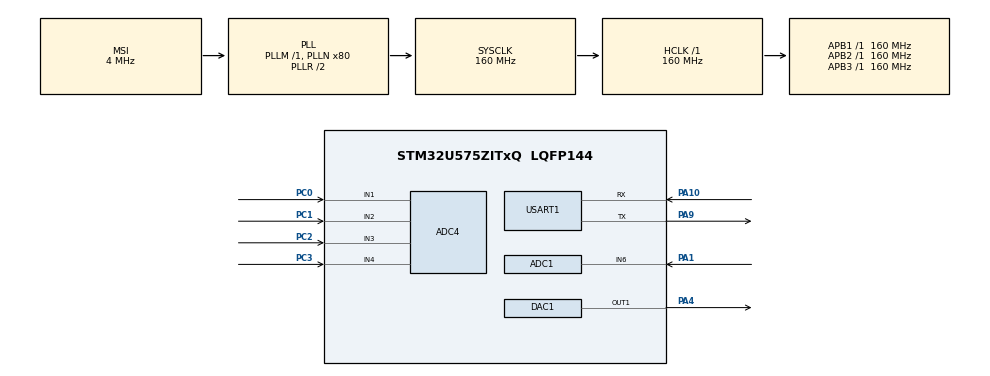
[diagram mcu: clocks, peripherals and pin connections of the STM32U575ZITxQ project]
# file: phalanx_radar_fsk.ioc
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ADC1.ContinuousConvMode=ENABLE
ADC1.ConversionDataManagement=ADC_CONVERSIONDATA_DMA_CIRCULAR
ADC1.NbrOfConversion=1
ADC1.Resolution=ADC_RESOLUTION_12B
ADC1.master=1
ADC4.DMAContinuousRequests=ENABLE
ADC4.ExternalTrigConv=ADC4_EXTERNALTRIG_T1_TRGO2
ADC4.NbrOfConversion=1
ADC4.NbrOfConversionFlag=0
ADC4.SelectedChannel=ADC_CHANNEL_1|ADC_CHANNEL_2|ADC_CHANNEL_3|ADC_CHANNEL_4|ADC_CHANNEL_DAC1CH1_ADC4
CORTEX_M33_NS.userName=CORTEX_M33
DAC1.DAC_Channel-DAC_OUT1_ExtAndInt=DAC_CHANNEL_1
DAC1.DAC_Trigger-DAC_OUT1_ExtAndInt=DAC_TRIGGER_T2_TRGO
GPDMA1.LINKALLOCATEDPORT_GPDMACH10=DMA_LINK_ALLOCATED_PORT1
GPDMA1.LINKEDLISTMODE_GPDMACH10=DMA_LINKEDLIST_CIRCULAR
GPDMA1.LINKEDLISTMODE_GPDMACH8=DMA_LINKEDLIST_CIRCULAR
Linkedlist.MDMA_Channel0.GP_SW.0.BlkHWRequest=DMA_BREQ_SINGLE_BURST
Linkedlist.MDMA_Channel0.GP_SW.0.DataHandling=NONE
Linkedlist.MDMA_Channel0.GP_SW.0.DataSize=0
Linkedlist.MDMA_Channel0.GP_SW.0.DestBurstLength=1
Linkedlist.MDMA_Channel0.GP_SW.0.DestDataWidth=DMA_DEST_DATAWIDTH_WORD
Linkedlist.MDMA_Channel0.GP_SW.0.DestInc=DMA_DINC_INCREMENTED
Linkedlist.MDMA_Channel0.GP_SW.0.Direction=DMA_PERIPH_TO_MEMORY
Linkedlist.MDMA_Channel0.GP_SW.0.DstAddress=0
Linkedlist.MDMA_Channel0.GP_SW.0.Instance=MDMA_Channel0
Linkedlist.MDMA_Channel0.GP_SW.0.LL_CIRCULARNODE=ADCNode
Linkedlist.MDMA_Channel0.GP_SW.0.LL_MASTERDMA=GPDMA
Linkedlist.MDMA_Channel0.GP_SW.0.LL_NAME=ADCQueue
Linkedlist.MDMA_Channel0.GP_SW.0.LL_TYPE=CIRCULAR
Linkedlist.MDMA_Channel0.GP_SW.0.NODE_NAME=ADCNode
Linkedlist.MDMA_Channel0.GP_SW.0.Requestforcodegen=GPDMA1_REQUEST_ADC4
Linkedlist.MDMA_Channel0.GP_SW.0.SrcAddress=0
Linkedlist.MDMA_Channel0.GP_SW.0.SrcBurstLength=1
Linkedlist.MDMA_Channel0.GP_SW.0.SrcDataWidth=DMA_SRC_DATAWIDTH_WORD
Linkedlist.MDMA_Channel0.GP_SW.0.SrcInc=DMA_SINC_FIXED
Linkedlist.MDMA_Channel0.GP_SW.0.TransferAllocatedPortSrc=DMA_SRC_ALLOCATED_PORT1
Linkedlist.MDMA_Channel0.GP_SW.0.TransferEventMode=DMA_TCEM_BLOCK_TRANSFER
Linkedlist.MDMA_Channel0.GP_SW.0.TriggerPolarity=DMA_TRIG_POLARITY_MASKED
Linkedlist.MDMA_Channel0.Request0=GP_SW
Linkedlist.MDMA_Channel0.RequestsNb=1
Linkedlist.MDMA_Channel1.GP_SW.0.BlkHWRequest=DMA_BREQ_SINGLE_BURST
Linkedlist.MDMA_Channel1.GP_SW.0.DataHandling=NONE
Linkedlist.MDMA_Channel1.GP_SW.0.DataSize=0
Linkedlist.MDMA_Channel1.GP_SW.0.DestBurstLength=1
Linkedlist.MDMA_Channel1.GP_SW.0.DestDataWidth=DMA_DEST_DATAWIDTH_WORD
Linkedlist.MDMA_Channel1.GP_SW.0.DestInc=DMA_DINC_FIXED
Linkedlist.MDMA_Channel1.GP_SW.0.Direction=DMA_PERIPH_TO_MEMORY
Linkedlist.MDMA_Channel1.GP_SW.0.DstAddress=0
Linkedlist.MDMA_Channel1.GP_SW.0.Instance=MDMA_Channel1
Linkedlist.MDMA_Channel1.GP_SW.0.LL_CIRCULARNODE=DACNode
Linkedlist.MDMA_Channel1.GP_SW.0.LL_MASTERDMA=GPDMA
Linkedlist.MDMA_Channel1.GP_SW.0.LL_NAME=DACQueue
Linkedlist.MDMA_Channel1.GP_SW.0.LL_TYPE=CIRCULAR
Linkedlist.MDMA_Channel1.GP_SW.0.NODE_NAME=DACNode
Linkedlist.MDMA_Channel1.GP_SW.0.Requestforcodegen=GPDMA1_REQUEST_DAC1_CH1
Linkedlist.MDMA_Channel1.GP_SW.0.SrcAddress=0
Linkedlist.MDMA_Channel1.GP_SW.0.SrcBurstLength=1
Linkedlist.MDMA_Channel1.GP_SW.0.SrcDataWidth=DMA_SRC_DATAWIDTH_WORD
Linkedlist.MDMA_Channel1.GP_SW.0.SrcInc=DMA_SINC_INCREMENTED
Linkedlist.MDMA_Channel1.GP_SW.0.TransferAllocatedPortSrc=DMA_SRC_ALLOCATED_PORT0
Linkedlist.MDMA_Channel1.GP_SW.0.TransferEventMode=DMA_TCEM_BLOCK_TRANSFER
Linkedlist.MDMA_Channel1.GP_SW.0.TriggerPolarity=DMA_TRIG_POLARITY_MASKED
Linkedlist.MDMA_Channel1.Request0=GP_SW
Linkedlist.MDMA_Channel1.RequestsNb=1
Linkedlist.RequestSet0=MDMA_Channel0
Linkedlist.RequestSet1=MDMA_Channel1
Linkedlist.RequestSetsNb=2
Mcu.Family=STM32U5
Mcu.Name=STM32U575ZITxQ
Mcu.Package=LQFP144
Mcu.UserConstants=SAMPLE_FREQ,50000
NVIC.GPDMA1_Channel10_IRQn=true\:0\:0\:false\:false\:true\:false\:true\:true\:true
NVIC.GPDMA1_Channel8_IRQn=true\:0\:0\:false\:false\:true\:false\:true\:true\:true
NVIC.PriorityGroup=NVIC_PRIORITYGROUP_4
NVIC.TIM6_IRQn=true\:15\:0\:false\:false\:true\:false\:false\:true\:true
NVIC.TimeBase=TIM6_IRQn
NVIC.TimeBaseIP=TIM6
PA1.Mode=IN6-Single-Ended
PA1.Signal=ADC1_IN6
PA10.Mode=Asynchronous
PA10.Signal=USART1_RX
PA13\ (JTMS/SWDIO).Signal=DEBUG_JTMS-SWDIO
PA14\ (JTCK/SWCLK).Signal=DEBUG_JTCK-SWCLK
PA4.Signal=COMP_DAC11_group
PA9.Mode=Asynchronous
PA9.Signal=USART1_TX
PB8.Signal=I2C1_SCL
PB9.Signal=I2C1_SDA
PC0.Mode=IN1
PC0.Signal=ADC4_IN1
PC1.Mode=IN2
PC1.Signal=ADC4_IN2
PC2.Mode=IN3
PC2.Signal=ADC4_IN3
PC3.Mode=IN4
PC3.Signal=ADC4_IN4
PE12.Signal=SPI1_NSS
PE13.Signal=SPI1_SCK
PE14.Signal=SPI1_MISO
PE15.Signal=SPI1_MOSI
PWR.PowerMode=PWR_SMPS_SUPPLY
ProjectManager.HeapSize=0x200
ProjectManager.StackSize=0x400
ProjectManager.TargetToolchain=STM32CubeIDE
RCC.ADCFreq_Value=16000000
RCC.AHBFreq_Value=160000000
RCC.APB1Freq_Value=160000000
RCC.APB1TimFreq_Value=160000000
RCC.APB2Freq_Value=160000000
RCC.APB2TimFreq_Value=160000000
RCC.APB3Freq_Value=160000000
RCC.CortexFreq_Value=160000000
RCC.DACCLockSelectionVirtual=RCC_DAC1CLKSOURCE_LSI
RCC.EPOD_VALUE=4000000
RCC.FLatency=FLASH_LATENCY_4
RCC.HCLKFreq_Value=160000000
RCC.HSE_VALUE=16000000
RCC.HSI48_VALUE=48000000
RCC.HSI_VALUE=16000000
RCC.LSE_VALUE=32768
RCC.LSIDIV_VALUE=32000
RCC.MSI_VALUE=4000000
RCC.PLLN=80
RCC.PWR_Regulator_Voltage_Scale=PWR_REGULATOR_VOLTAGE_SCALE1
RCC.SYSCLKFreq_VALUE=160000000
RCC.SYSCLKSource=RCC_SYSCLKSOURCE_PLLCLK
RCC.USBFreq_Value=48000000
RCC.VCOOutputFreq_Value=320000000
SH.COMP_DAC11_group.0=DAC1_OUT1,DAC_OUT1_ExtAndInt
THREADX.AZRTOS_APP_MEM_ALLOCATION_METHOD=1
THREADX.TX_APP_CREATION=1
THREADX.TX_APP_GENERATE_INIT_CODE=true
THREADX.TX_APP_MEM_POOL_SIZE=(4*1024)
THREADX.TX_APP_MSG_QUEUE_CREATION=0
THREADX.TX_APP_STACK_SIZE=512
THREADX.TX_APP_THREAD_ENTRY=MainThread_entry
THREADX.TX_APP_THREAD_NAME=Main Thread
THREADX.TX_APP_THREAD_PRIO=5
THREADX.TX_MSG_SIZE_WORDS=6
THREADX.TX_TIMER_TICKS_PER_SECOND=1000
TIM1.PeriodNoDither=160000000/SAMPLE_FREQ
TIM1.TIM_MasterOutputTrigger=TIM_TRGO_UPDATE
TIM1.TIM_MasterOutputTrigger2=TIM_TRGO2_UPDATE
TIM2.PeriodNoDither=800
TIM2.TIM_MasterOutputTrigger=TIM_TRGO_UPDATE
USART1.VirtualMode-Asynchronous=VM_ASYNC
VP_ADC4_VS_DAC1_OUT1.Mode=IN-DAC1-OUT1
VP_GPDMA1_VS_GPDMACH10.Mode=LINKEDLIST_GPDMACH10
VP_GPDMA1_VS_GPDMACH8.Mode=LINKEDLIST_GPDMACH8
VP_ICACHE_VS_ENABLE_ICACHE_MEMORY.Mode=Memoryregions
VP_ICACHE_VS_ICACHE.Mode=DirectMappedCache
VP_LPBAMQUEUE_VS_QUEUE.Mode=QUEUEMODE
VP_LPBAM_VS_SIG1.Mode=SmartRun
VP_LPBAM_VS_SIG4.Mode=LPDMA1
VP_MEMORYMAP_VS_MEMORYMAP.Mode=CurAppReg
VP_PWR_VS_DBSignals.Mode=DisableDeadBatterySignals
VP_PWR_VS_LPOM.Mode=PowerOptimisation
VP_PWR_VS_SECSignals.Mode=Security/Privilege
VP_PWR_Vdda.Mode=isolationVdda
VP_RTC_VS_RTC_Activate.Mode=RTC_Enabled
VP_RTC_VS_RTC_Calendar.Mode=RTC_Calendar
VP_SYS_VS_tim6.Mode=TIM6
VP_THREADX_VS_RTOSJjThreadXJjCoreJjDefault.Mode=Core_Default
VP_TIM1_VS_ClockSourceITR.Mode=TriggerSource_ITR2
VP_TIM2_VS_ClockSourceITR.Mode=TriggerSource_ITR0
board=NUCLEO-U575ZI-Q

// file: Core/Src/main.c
/* USER CODE BEGIN Header */
/**
  ******************************************************************************
  * @file           : main.c
  * @brief          : Main program body
  ******************************************************************************
  * @attention
  *
  * Copyright (c) 2023 STMicroelectronics.
  * All rights reserved.
  *
  * This software is licensed under terms that can be found in the LICENSE file
  * in the root directory of this software component.
  * If no LICENSE file comes with this software, it is provided AS-IS.
  *
  ******************************************************************************
  */
/* USER CODE END Header */
#include "app_threadx.h"
#include "main.h"

ADC_HandleTypeDef hadc1;
ADC_HandleTypeDef hadc4;

DAC_HandleTypeDef hdac1;

DMA_HandleTypeDef handle_GPDMA1_Channel10;
DMA_HandleTypeDef handle_GPDMA1_Channel8;

RTC_HandleTypeDef hrtc;

TIM_HandleTypeDef htim1;
TIM_HandleTypeDef htim2;

UART_HandleTypeDef huart1;

/* USER CODE BEGIN PV */
extern DMA_QListTypeDef ADCQueue;
extern DMA_QListTypeDef DACQueue;
/* USER CODE END PV */

void SystemClock_Config(void);
static void SystemPower_Config(void);
static void MX_GPIO_Init(void);
static void MX_GPDMA1_Init(void);
static void MX_ICACHE_Init(void);
static void MX_MEMORYMAP_Init(void);
static void MX_ADC1_Init(void);
static void MX_ADC4_Init(void);
static void MX_DAC1_Init(void);
static void MX_RTC_Init(void);
static void MX_TIM1_Init(void);
static void MX_TIM2_Init(void);
static void MX_USART1_UART_Init(void);
/* USER CODE BEGIN PFP */
#if defined (__ICCARM__) || defined (__ARMCC_VERSION)
	#define PUTCHAR_PROTOTYPE int fputc(int ch, FILE *f)
#elif defined(__GNUC__)
  /* With GCC, small printf (option LD Linker->Libraries->Small printf
  set to 'Yes') calls __io_putchar() */
	#define PUTCHAR_PROTOTYPE int __io_putchar(int ch)
#endif /* __ICCARM__ || __ARMCC_VERSION */
/* USER CODE END PFP */

/* USER CODE BEGIN 0 */
int _write(int fd, char* ptr, int len) {
    HAL_UART_Transmit(&huart1, (uint8_t *) ptr, len, HAL_MAX_DELAY);
    return len;
}
/* USER CODE END 0 */

int main(void)
{

  /* MCU Configuration--------------------------------------------------------*/

  /* Reset of all peripherals, Initializes the Flash interface and the Systick. */
  HAL_Init();

  /* Configure the system clock */
  SystemClock_Config();

  /* Configure the System Power */
  SystemPower_Config();

  /* Initialize all configured peripherals */
  MX_GPIO_Init();
  MX_GPDMA1_Init();
  MX_ICACHE_Init();
  MX_MEMORYMAP_Init();
  MX_ADC1_Init();
  MX_ADC4_Init();
  MX_DAC1_Init();
  MX_RTC_Init();
  MX_TIM1_Init();
  MX_TIM2_Init();
  MX_USART1_UART_Init();
  /* USER CODE BEGIN 2 */

  //pasar a fuincion dentro de procesado de señal

  /* USER CODE END 2 */

  MX_ThreadX_Init();

  /* We should never get here as control is now taken by the scheduler */
  /* Infinite loop */
  while (1)
  {

  }
}

void SystemClock_Config(void)
{
  RCC_OscInitTypeDef RCC_OscInitStruct = {0};
  RCC_ClkInitTypeDef RCC_ClkInitStruct = {0};

  /** Configure the main internal regulator output voltage
  */
  if (HAL_PWREx_ControlVoltageScaling(PWR_REGULATOR_VOLTAGE_SCALE1) != HAL_OK)
  {
    Error_Handler();
  }

  /** Initializes the CPU, AHB and APB buses clocks
  */
  RCC_OscInitStruct.OscillatorType = RCC_OSCILLATORTYPE_HSI|RCC_OSCILLATORTYPE_LSI
                              |RCC_OSCILLATORTYPE_MSI;
  RCC_OscInitStruct.HSIState = RCC_HSI_ON;
  RCC_OscInitStruct.HSICalibrationValue = RCC_HSICALIBRATION_DEFAULT;
  RCC_OscInitStruct.LSIState = RCC_LSI_ON;
  RCC_OscInitStruct.MSIState = RCC_MSI_ON;
  RCC_OscInitStruct.MSICalibrationValue = RCC_MSICALIBRATION_DEFAULT;
  RCC_OscInitStruct.MSIClockRange = RCC_MSIRANGE_4;
  RCC_OscInitStruct.LSIDiv = RCC_LSI_DIV1;
  RCC_OscInitStruct.PLL.PLLState = RCC_PLL_ON;
  RCC_OscInitStruct.PLL.PLLSource = RCC_PLLSOURCE_MSI;
  RCC_OscInitStruct.PLL.PLLMBOOST = RCC_PLLMBOOST_DIV1;
  RCC_OscInitStruct.PLL.PLLM = 1;
  RCC_OscInitStruct.PLL.PLLN = 80;
  RCC_OscInitStruct.PLL.PLLP = 2;
  RCC_OscInitStruct.PLL.PLLQ = 2;
  RCC_OscInitStruct.PLL.PLLR = 2;
  RCC_OscInitStruct.PLL.PLLRGE = RCC_PLLVCIRANGE_0;
  RCC_OscInitStruct.PLL.PLLFRACN = 0;
  if (HAL_RCC_OscConfig(&RCC_OscInitStruct) != HAL_OK)
  {
    Error_Handler();
  }

  /** Initializes the CPU, AHB and APB buses clocks
  */
  RCC_ClkInitStruct.ClockType = RCC_CLOCKTYPE_HCLK|RCC_CLOCKTYPE_SYSCLK
                              |RCC_CLOCKTYPE_PCLK1|RCC_CLOCKTYPE_PCLK2
                              |RCC_CLOCKTYPE_PCLK3;
  RCC_ClkInitStruct.SYSCLKSource = RCC_SYSCLKSOURCE_PLLCLK;
  RCC_ClkInitStruct.AHBCLKDivider = RCC_SYSCLK_DIV1;
  RCC_ClkInitStruct.APB1CLKDivider = RCC_HCLK_DIV1;
  RCC_ClkInitStruct.APB2CLKDivider = RCC_HCLK_DIV1;
  RCC_ClkInitStruct.APB3CLKDivider = RCC_HCLK_DIV1;

  if (HAL_RCC_ClockConfig(&RCC_ClkInitStruct, FLASH_LATENCY_4) != HAL_OK)
  {
    Error_Handler();
  }
}

/**
  * @brief Power Configuration
  * @retval None
  */
static void SystemPower_Config(void)
{

  /*
   * Disable the internal Pull-Up in Dead Battery pins of UCPD peripheral
   */
  HAL_PWREx_DisableUCPDDeadBattery();

  /*
   * Switch to SMPS regulator instead of LDO
   */
  if (HAL_PWREx_ConfigSupply(PWR_SMPS_SUPPLY) != HAL_OK)
  {
    Error_Handler();
  }
}

static void MX_ADC1_Init(void)
{

  /** Common config
  */
  hadc1.Instance = ADC1;
  hadc1.Init.ClockPrescaler = ADC_CLOCK_ASYNC_DIV1;
  hadc1.Init.Resolution = ADC_RESOLUTION_12B;
  hadc1.Init.GainCompensation = 0;
  hadc1.Init.ScanConvMode = ADC_SCAN_DISABLE;
  hadc1.Init.EOCSelection = ADC_EOC_SINGLE_CONV;
  hadc1.Init.LowPowerAutoWait = DISABLE;
  hadc1.Init.ContinuousConvMode = ENABLE;
  hadc1.Init.NbrOfConversion = 1;
  hadc1.Init.DiscontinuousConvMode = DISABLE;
  hadc1.Init.DMAContinuousRequests = DISABLE;
  hadc1.Init.TriggerFrequencyMode = ADC_TRIGGER_FREQ_HIGH;
  hadc1.Init.Overrun = ADC_OVR_DATA_PRESERVED;
  hadc1.Init.LeftBitShift = ADC_LEFTBITSHIFT_NONE;
  hadc1.Init.ConversionDataManagement = ADC_CONVERSIONDATA_DMA_CIRCULAR;
  hadc1.Init.OversamplingMode = DISABLE;
  if (HAL_ADC_Init(&hadc1) != HAL_OK)
  {
    Error_Handler();
  }
  /* USER CODE BEGIN ADC1_Init 2 */
  __HAL_LINKDMA(&hadc4, DMA_Handle, handle_GPDMA1_Channel10);
  /* USER CODE END ADC1_Init 2 */

}

static void MX_ADC4_Init(void)
{

  ADC_ChannelConfTypeDef sConfig = {0};

  /** Common config
  */
  hadc4.Instance = ADC4;
  hadc4.Init.ClockPrescaler = ADC_CLOCK_ASYNC_DIV1;
  hadc4.Init.Resolution = ADC_RESOLUTION_12B;
  hadc4.Init.DataAlign = ADC_DATAALIGN_RIGHT;
  hadc4.Init.ScanConvMode = ADC_SCAN_DIRECTION_FORWARD;
  hadc4.Init.EOCSelection = ADC_EOC_SINGLE_CONV;
  hadc4.Init.LowPowerAutoPowerOff = ADC_LOW_POWER_NONE;
  hadc4.Init.LowPowerAutoWait = DISABLE;
  hadc4.Init.ContinuousConvMode = DISABLE;
  hadc4.Init.NbrOfConversion = 1;
  hadc4.Init.DiscontinuousConvMode = DISABLE;
  hadc4.Init.ExternalTrigConv = ADC4_EXTERNALTRIG_T1_TRGO2;
  hadc4.Init.ExternalTrigConvEdge = ADC_EXTERNALTRIGCONVEDGE_RISING;
  hadc4.Init.DMAContinuousRequests = ENABLE;
  hadc4.Init.TriggerFrequencyMode = ADC_TRIGGER_FREQ_LOW;
  hadc4.Init.Overrun = ADC_OVR_DATA_PRESERVED;
  hadc4.Init.SamplingTimeCommon1 = ADC4_SAMPLETIME_1CYCLE_5;
  hadc4.Init.SamplingTimeCommon2 = ADC4_SAMPLETIME_1CYCLE_5;
  hadc4.Init.OversamplingMode = DISABLE;
  if (HAL_ADC_Init(&hadc4) != HAL_OK)
  {
    Error_Handler();
  }

  /** Configure Regular Channel
  */
  sConfig.Channel = ADC_CHANNEL_1;
  sConfig.Rank = ADC4_RANK_CHANNEL_NUMBER;
  sConfig.SamplingTime = ADC4_SAMPLINGTIME_COMMON_1;
  sConfig.OffsetNumber = ADC_OFFSET_NONE;
  sConfig.Offset = 0;
  if (HAL_ADC_ConfigChannel(&hadc4, &sConfig) != HAL_OK)
  {
    Error_Handler();
  }

  /** Configure Regular Channel
  */
  sConfig.Channel = ADC_CHANNEL_2;
  if (HAL_ADC_ConfigChannel(&hadc4, &sConfig) != HAL_OK)
  {
    Error_Handler();
  }

  /** Configure Regular Channel
  */
  sConfig.Channel = ADC_CHANNEL_3;
  if (HAL_ADC_ConfigChannel(&hadc4, &sConfig) != HAL_OK)
  {
    Error_Handler();
  }

  /** Configure Regular Channel
  */
  sConfig.Channel = ADC_CHANNEL_4;
  if (HAL_ADC_ConfigChannel(&hadc4, &sConfig) != HAL_OK)
  {
    Error_Handler();
  }

  /** Configure Regular Channel
  */
  sConfig.Channel = ADC_CHANNEL_DAC1CH1_ADC4;
  if (HAL_ADC_ConfigChannel(&hadc4, &sConfig) != HAL_OK)
  {
    Error_Handler();
  }
  /* USER CODE BEGIN ADC4_Init 2 */
  if (HAL_ADCEx_Calibration_Start(&hadc4, ADC_CALIB_OFFSET, ADC_SINGLE_ENDED) != HAL_OK)
  {
    Error_Handler();
  }
  /* USER CODE END ADC4_Init 2 */

}

static void MX_DAC1_Init(void)
{

  DAC_ChannelConfTypeDef sConfig = {0};
  DAC_AutonomousModeConfTypeDef sAutonomousMode = {0};

  /** DAC Initialization
  */
  hdac1.Instance = DAC1;
  if (HAL_DAC_Init(&hdac1) != HAL_OK)
  {
    Error_Handler();
  }

  /** DAC channel OUT1 config
  */
  sConfig.DAC_HighFrequency = DAC_HIGH_FREQUENCY_INTERFACE_MODE_DISABLE;
  sConfig.DAC_DMADoubleDataMode = DISABLE;
  sConfig.DAC_SignedFormat = DISABLE;
  sConfig.DAC_SampleAndHold = DAC_SAMPLEANDHOLD_DISABLE;
  sConfig.DAC_Trigger = DAC_TRIGGER_T2_TRGO;
  sConfig.DAC_OutputBuffer = DAC_OUTPUTBUFFER_ENABLE;
  sConfig.DAC_ConnectOnChipPeripheral = DAC_CHIPCONNECT_BOTH;
  sConfig.DAC_UserTrimming = DAC_TRIMMING_FACTORY;
  if (HAL_DAC_ConfigChannel(&hdac1, &sConfig, DAC_CHANNEL_1) != HAL_OK)
  {
    Error_Handler();
  }

  /** Configure Autonomous Mode
  */
  sAutonomousMode.AutonomousModeState = DAC_AUTONOMOUS_MODE_DISABLE;
  if (HAL_DACEx_SetConfigAutonomousMode(&hdac1, &sAutonomousMode) != HAL_OK)
  {
    Error_Handler();
  }
  /* USER CODE BEGIN DAC1_Init 2 */
  __HAL_LINKDMA(&hdac1, DMA_Handle1, handle_GPDMA1_Channel8);
  /* USER CODE END DAC1_Init 2 */

}

static void MX_GPDMA1_Init(void)
{

  /* Peripheral clock enable */
  __HAL_RCC_GPDMA1_CLK_ENABLE();

  /* GPDMA1 interrupt Init */
    HAL_NVIC_SetPriority(GPDMA1_Channel8_IRQn, 0, 0);
    HAL_NVIC_EnableIRQ(GPDMA1_Channel8_IRQn);
    HAL_NVIC_SetPriority(GPDMA1_Channel10_IRQn, 0, 0);
    HAL_NVIC_EnableIRQ(GPDMA1_Channel10_IRQn);

  handle_GPDMA1_Channel10.Instance = GPDMA1_Channel10;
  handle_GPDMA1_Channel10.InitLinkedList.Priority = DMA_LOW_PRIORITY_LOW_WEIGHT;
  handle_GPDMA1_Channel10.InitLinkedList.LinkStepMode = DMA_LSM_FULL_EXECUTION;
  handle_GPDMA1_Channel10.InitLinkedList.LinkAllocatedPort = DMA_LINK_ALLOCATED_PORT1;
  handle_GPDMA1_Channel10.InitLinkedList.TransferEventMode = DMA_TCEM_LAST_LL_ITEM_TRANSFER;
  handle_GPDMA1_Channel10.InitLinkedList.LinkedListMode = DMA_LINKEDLIST_CIRCULAR;
  if (HAL_DMAEx_List_Init(&handle_GPDMA1_Channel10) != HAL_OK)
  {
    Error_Handler();
  }
  if (HAL_DMA_ConfigChannelAttributes(&handle_GPDMA1_Channel10, DMA_CHANNEL_NPRIV) != HAL_OK)
  {
    Error_Handler();
  }
  handle_GPDMA1_Channel8.Instance = GPDMA1_Channel8;
  handle_GPDMA1_Channel8.InitLinkedList.Priority = DMA_LOW_PRIORITY_LOW_WEIGHT;
  handle_GPDMA1_Channel8.InitLinkedList.LinkStepMode = DMA_LSM_FULL_EXECUTION;
  handle_GPDMA1_Channel8.InitLinkedList.LinkAllocatedPort = DMA_LINK_ALLOCATED_PORT0;
  handle_GPDMA1_Channel8.InitLinkedList.TransferEventMode = DMA_TCEM_LAST_LL_ITEM_TRANSFER;
  handle_GPDMA1_Channel8.InitLinkedList.LinkedListMode = DMA_LINKEDLIST_CIRCULAR;
  if (HAL_DMAEx_List_Init(&handle_GPDMA1_Channel8) != HAL_OK)
  {
    Error_Handler();
  }
  if (HAL_DMA_ConfigChannelAttributes(&handle_GPDMA1_Channel8, DMA_CHANNEL_NPRIV) != HAL_OK)
  {
    Error_Handler();
  }
  /* USER CODE BEGIN GPDMA1_Init 2 */
  MX_DACQueue_Config();
  /* Link DAC queue to DMA channel */
  if( HAL_DMAEx_List_LinkQ(&handle_GPDMA1_Channel8, &DACQueue)!= HAL_OK)
  {
    Error_Handler();
  }

  MX_ADCQueue_Config();
  if (HAL_DMAEx_List_LinkQ(&handle_GPDMA1_Channel10, &ADCQueue) != HAL_OK)
  {
    Error_Handler();
  }
  /* USER CODE END GPDMA1_Init 2 */

}

static void MX_ICACHE_Init(void)
{

  ICACHE_RegionConfigTypeDef pRegionConfig = {0};

  /** Configure and enable a region for memory remapping.
  */
  if (HAL_ICACHE_Disable() != HAL_OK)
  {
    Error_Handler();
  }
  pRegionConfig.BaseAddress = 0x10000000;
  pRegionConfig.RemapAddress = 0x60000000;
  pRegionConfig.Size = ICACHE_REGIONSIZE_2MB;
  pRegionConfig.TrafficRoute = ICACHE_MASTER1_PORT;
  pRegionConfig.OutputBurstType = ICACHE_OUTPUT_BURST_WRAP;
  if (HAL_ICACHE_EnableRemapRegion(_NULL, &pRegionConfig) != HAL_OK)
  {
    Error_Handler();
  }

  /** Enable instruction cache in 1-way (direct mapped cache)
  */
  if (HAL_ICACHE_ConfigAssociativityMode(ICACHE_1WAY) != HAL_OK)
  {
    Error_Handler();
  }
  if (HAL_ICACHE_Enable() != HAL_OK)
  {
    Error_Handler();
  }

}

static void MX_MEMORYMAP_Init(void)
{

}

static void MX_RTC_Init(void)
{

  RTC_PrivilegeStateTypeDef privilegeState = {0};
  RTC_TimeTypeDef sTime = {0};
  RTC_DateTypeDef sDate = {0};

  /** Initialize RTC Only
  */
  hrtc.Instance = RTC;
  hrtc.Init.HourFormat = RTC_HOURFORMAT_24;
  hrtc.Init.AsynchPrediv = 127;
  hrtc.Init.SynchPrediv = 255;
  hrtc.Init.OutPut = RTC_OUTPUT_DISABLE;
  hrtc.Init.OutPutRemap = RTC_OUTPUT_REMAP_NONE;
  hrtc.Init.OutPutPolarity = RTC_OUTPUT_POLARITY_HIGH;
  hrtc.Init.OutPutType = RTC_OUTPUT_TYPE_OPENDRAIN;
  hrtc.Init.OutPutPullUp = RTC_OUTPUT_PULLUP_NONE;
  hrtc.Init.BinMode = RTC_BINARY_NONE;
  if (HAL_RTC_Init(&hrtc) != HAL_OK)
  {
    Error_Handler();
  }
  privilegeState.rtcPrivilegeFull = RTC_PRIVILEGE_FULL_NO;
  privilegeState.backupRegisterPrivZone = RTC_PRIVILEGE_BKUP_ZONE_NONE;
  privilegeState.backupRegisterStartZone2 = RTC_BKP_DR0;
  privilegeState.backupRegisterStartZone3 = RTC_BKP_DR0;
  if (HAL_RTCEx_PrivilegeModeSet(&hrtc, &privilegeState) != HAL_OK)
  {
    Error_Handler();
  }

  /** Initialize RTC and set the Time and Date
  */
  sTime.Hours = 0x0;
  sTime.Minutes = 0x0;
  sTime.Seconds = 0x0;
  sTime.DayLightSaving = RTC_DAYLIGHTSAVING_NONE;
  sTime.StoreOperation = RTC_STOREOPERATION_RESET;
  if (HAL_RTC_SetTime(&hrtc, &sTime, RTC_FORMAT_BCD) != HAL_OK)
  {
    Error_Handler();
  }
  sDate.WeekDay = RTC_WEEKDAY_MONDAY;
  sDate.Month = RTC_MONTH_JANUARY;
  sDate.Date = 0x1;
  sDate.Year = 0x0;

  if (HAL_RTC_SetDate(&hrtc, &sDate, RTC_FORMAT_BCD) != HAL_OK)
  {
    Error_Handler();
  }

}

static void MX_TIM1_Init(void)
{

  TIM_SlaveConfigTypeDef sSlaveConfig = {0};
  TIM_MasterConfigTypeDef sMasterConfig = {0};

  htim1.Instance = TIM1;
  htim1.Init.Prescaler = 0;
  htim1.Init.CounterMode = TIM_COUNTERMODE_UP;
  htim1.Init.Period = 3200;
  htim1.Init.ClockDivision = TIM_CLOCKDIVISION_DIV1;
  htim1.Init.RepetitionCounter = 0;
  htim1.Init.AutoReloadPreload = TIM_AUTORELOAD_PRELOAD_DISABLE;
  if (HAL_TIM_Base_Init(&htim1) != HAL_OK)
  {
    Error_Handler();
  }
  sSlaveConfig.SlaveMode = TIM_SLAVEMODE_DISABLE;
  sSlaveConfig.InputTrigger = TIM_TS_ITR2;
  if (HAL_TIM_SlaveConfigSynchro(&htim1, &sSlaveConfig) != HAL_OK)
  {
    Error_Handler();
  }
  sMasterConfig.MasterOutputTrigger = TIM_TRGO_UPDATE;
  sMasterConfig.MasterOutputTrigger2 = TIM_TRGO2_UPDATE;
  sMasterConfig.MasterSlaveMode = TIM_MASTERSLAVEMODE_DISABLE;
  if (HAL_TIMEx_MasterConfigSynchronization(&htim1, &sMasterConfig) != HAL_OK)
  {
    Error_Handler();
  }
  /* USER CODE BEGIN TIM1_Init 2 */
//  if(HAL_TIM_PWM_Start(&htim1,TIM_CHANNEL_1 != HAL_OK))
//  {
//	  Error_Handler();
//  }
  if (HAL_TIM_Base_Start(&htim1) != HAL_OK)
  {
    Error_Handler();
  }
  /* USER CODE END TIM1_Init 2 */

}

static void MX_TIM2_Init(void)
{

  TIM_SlaveConfigTypeDef sSlaveConfig = {0};
  TIM_MasterConfigTypeDef sMasterConfig = {0};

  htim2.Instance = TIM2;
  htim2.Init.Prescaler = 0;
  htim2.Init.CounterMode = TIM_COUNTERMODE_UP;
  htim2.Init.Period = 800;
  htim2.Init.ClockDivision = TIM_CLOCKDIVISION_DIV1;
  htim2.Init.AutoReloadPreload = TIM_AUTORELOAD_PRELOAD_DISABLE;
  if (HAL_TIM_Base_Init(&htim2) != HAL_OK)
  {
    Error_Handler();
  }
  sSlaveConfig.SlaveMode = TIM_SLAVEMODE_DISABLE;
  sSlaveConfig.InputTrigger = TIM_TS_ITR0;
  if (HAL_TIM_SlaveConfigSynchro(&htim2, &sSlaveConfig) != HAL_OK)
  {
    Error_Handler();
  }
  sMasterConfig.MasterOutputTrigger = TIM_TRGO_UPDATE;
  sMasterConfig.MasterSlaveMode = TIM_MASTERSLAVEMODE_DISABLE;
  if (HAL_TIMEx_MasterConfigSynchronization(&htim2, &sMasterConfig) != HAL_OK)
  {
    Error_Handler();
  }
  /* USER CODE BEGIN TIM2_Init 2 */
  if (HAL_TIM_Base_Start(&htim2) != HAL_OK)
  {
    Error_Handler();
  }
  /* USER CODE END TIM2_Init 2 */

}

static void MX_USART1_UART_Init(void)
{

  huart1.Instance = USART1;
  huart1.Init.BaudRate = 115200;
  huart1.Init.WordLength = UART_WORDLENGTH_8B;
  huart1.Init.StopBits = UART_STOPBITS_1;
  huart1.Init.Parity = UART_PARITY_NONE;
  huart1.Init.Mode = UART_MODE_TX_RX;
  huart1.Init.HwFlowCtl = UART_HWCONTROL_NONE;
  huart1.Init.OverSampling = UART_OVERSAMPLING_16;
  huart1.Init.OneBitSampling = UART_ONE_BIT_SAMPLE_DISABLE;
  huart1.Init.ClockPrescaler = UART_PRESCALER_DIV1;
  huart1.AdvancedInit.AdvFeatureInit = UART_ADVFEATURE_NO_INIT;
  if (HAL_UART_Init(&huart1) != HAL_OK)
  {
    Error_Handler();
  }
  if (HAL_UARTEx_SetTxFifoThreshold(&huart1, UART_TXFIFO_THRESHOLD_1_8) != HAL_OK)
  {
    Error_Handler();
  }
  if (HAL_UARTEx_SetRxFifoThreshold(&huart1, UART_RXFIFO_THRESHOLD_1_8) != HAL_OK)
  {
    Error_Handler();
  }
  if (HAL_UARTEx_DisableFifoMode(&huart1) != HAL_OK)
  {
    Error_Handler();
  }
  /* USER CODE BEGIN USART1_Init 2 */
  HAL_UART_MspInit(&huart1);
  /* USER CODE END USART1_Init 2 */

}

static void MX_GPIO_Init(void)
{
  GPIO_InitTypeDef GPIO_InitStruct = {0};

  /* GPIO Ports Clock Enable */
  __HAL_RCC_GPIOC_CLK_ENABLE();
  __HAL_RCC_GPIOA_CLK_ENABLE();
  __HAL_RCC_GPIOE_CLK_ENABLE();
  __HAL_RCC_GPIOB_CLK_ENABLE();

  /*Configure GPIO pins : PE12 PE13 PE14 PE15 */
  GPIO_InitStruct.Pin = GPIO_PIN_12|GPIO_PIN_13|GPIO_PIN_14|GPIO_PIN_15;
  GPIO_InitStruct.Mode = GPIO_MODE_AF_PP;
  GPIO_InitStruct.Pull = GPIO_NOPULL;
  GPIO_InitStruct.Speed = GPIO_SPEED_FREQ_LOW;
  GPIO_InitStruct.Alternate = GPIO_AF5_SPI1;
  HAL_GPIO_Init(GPIOE, &GPIO_InitStruct);

  /*Configure GPIO pins : PB8 PB9 */
  GPIO_InitStruct.Pin = GPIO_PIN_8|GPIO_PIN_9;
  GPIO_InitStruct.Mode = GPIO_MODE_AF_OD;
  GPIO_InitStruct.Pull = GPIO_NOPULL;
  GPIO_InitStruct.Speed = GPIO_SPEED_FREQ_LOW;
  GPIO_InitStruct.Alternate = GPIO_AF4_I2C1;
  HAL_GPIO_Init(GPIOB, &GPIO_InitStruct);

}

/* USER CODE BEGIN 4 */
PUTCHAR_PROTOTYPE
{
  /* Place your implementation of fputc here */
  /* e.g. write a character to the USART1 and Loop until the end of transmission */
  HAL_UART_Transmit(&huart1, (uint8_t *)&ch, 1, 0xFFFF);

  return ch;
}

void HAL_RTC_AlarmAEventCallback(RTC_HandleTypeDef *hrtc) {
	RTC_AlarmTypeDef sAlarm;
	HAL_RTC_GetAlarm(hrtc, &sAlarm, RTC_ALARM_A, FORMAT_BIN);
	if(sAlarm.AlarmTime.Seconds > 58) {
		sAlarm.AlarmTime.Seconds = 0;
		sAlarm.AlarmTime.Minutes = sAlarm.AlarmTime.Minutes+1;
	}else{
		sAlarm.AlarmTime.Seconds = sAlarm.AlarmTime.Seconds+1;
	}
	while(HAL_RTC_SetAlarm_IT(hrtc, &sAlarm, FORMAT_BIN)!=HAL_OK){}
}
/* USER CODE END 4 */

void HAL_TIM_PeriodElapsedCallback(TIM_HandleTypeDef *htim)
{
  if (htim->Instance == TIM6) {
    HAL_IncTick();
  }
}

void Error_Handler(void)
{
  __disable_irq();
  while (1)
  {
  }
}
